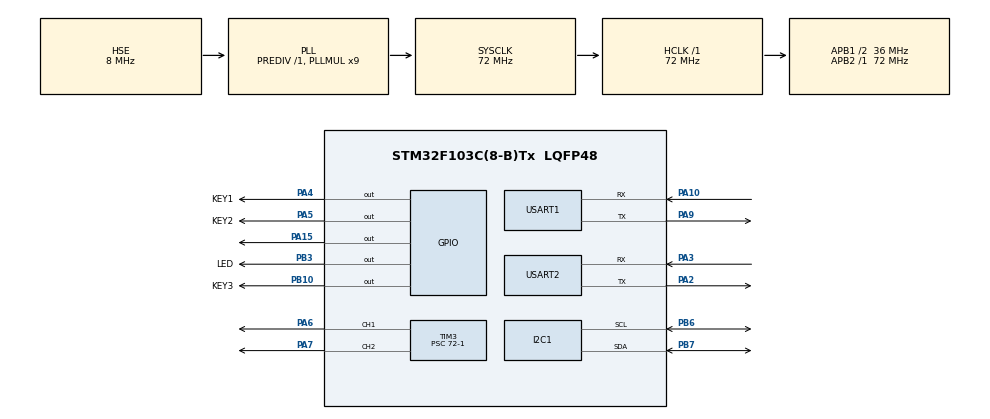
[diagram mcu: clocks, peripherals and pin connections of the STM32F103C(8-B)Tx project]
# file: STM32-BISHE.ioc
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FREERTOS.Tasks01=defaultTask,24,128,StartDefaultTask,Default,NULL,Dynamic,NULL,NULL
Mcu.Family=STM32F1
Mcu.Name=STM32F103C(8-B)Tx
Mcu.Package=LQFP48
NVIC.PriorityGroup=NVIC_PRIORITYGROUP_4
NVIC.TIM4_IRQn=true\:15\:0\:false\:false\:true\:false\:false\:true\:true
NVIC.TimeBase=TIM4_IRQn
NVIC.TimeBaseIP=TIM4
NVIC.USART1_IRQn=true\:5\:0\:false\:false\:true\:true\:true\:true\:true
NVIC.USART2_IRQn=true\:5\:0\:false\:false\:true\:true\:true\:true\:true
PA10.Mode=Asynchronous
PA10.Signal=USART1_RX
PA13.Mode=Serial_Wire
PA13.Signal=SYS_JTMS-SWDIO
PA14.Mode=Serial_Wire
PA14.Signal=SYS_JTCK-SWCLK
PA15.PinState=GPIO_PIN_RESET
PA15.Signal=GPIO_Output
PA2.Mode=Asynchronous
PA2.Signal=USART2_TX
PA3.Mode=Asynchronous
PA3.Signal=USART2_RX
PA4.GPIO_Label=KEY1
PA4.PinState=GPIO_PIN_SET
PA4.Signal=GPIO_Output
PA5.GPIO_Label=KEY2
PA5.PinState=GPIO_PIN_SET
PA5.Signal=GPIO_Output
PA6.Signal=S_TIM3_CH1
PA7.Signal=S_TIM3_CH2
PA9.Mode=Asynchronous
PA9.Signal=USART1_TX
PB10.GPIO_Label=KEY3
PB10.PinState=GPIO_PIN_SET
PB10.Signal=GPIO_Output
PB3.GPIO_Label=LED
PB3.Signal=GPIO_Output
PB6.Mode=I2C
PB6.Signal=I2C1_SCL
PB7.Mode=I2C
PB7.Signal=I2C1_SDA
PD0-OSC_IN.Mode=HSE-External-Oscillator
PD0-OSC_IN.Signal=RCC_OSC_IN
PD1-OSC_OUT.Mode=HSE-External-Oscillator
PD1-OSC_OUT.Signal=RCC_OSC_OUT
ProjectManager.HeapSize=0x400
ProjectManager.StackSize=0x800
ProjectManager.TargetToolchain=MDK-ARM V5.32
RCC.AHBFreq_Value=72000000
RCC.APB1CLKDivider=RCC_HCLK_DIV2
RCC.APB1Freq_Value=36000000
RCC.APB1TimFreq_Value=72000000
RCC.APB2Freq_Value=72000000
RCC.APB2TimFreq_Value=72000000
RCC.HCLKFreq_Value=72000000
RCC.PLLMUL=RCC_PLL_MUL9
RCC.PLLSourceVirtual=RCC_PLLSOURCE_HSE
RCC.SYSCLKFreq_VALUE=72000000
RCC.SYSCLKSource=RCC_SYSCLKSOURCE_PLLCLK
RCC.USBFreq_Value=72000000
SH.S_TIM3_CH1.0=TIM3_CH1,PWM Generation1 CH1
SH.S_TIM3_CH2.0=TIM3_CH2,PWM Generation2 CH2
TIM3.AutoReloadPreload=TIM_AUTORELOAD_PRELOAD_ENABLE
TIM3.Channel-PWM\ Generation1\ CH1=TIM_CHANNEL_1
TIM3.Channel-PWM\ Generation2\ CH2=TIM_CHANNEL_2
TIM3.Period=10000-1
TIM3.Prescaler=72-1
TIM3.Pulse-PWM\ Generation1\ CH1=5000
TIM3.Pulse-PWM\ Generation2\ CH2=5000
USART1.VirtualMode=VM_ASYNC
USART2.VirtualMode=VM_ASYNC
VP_FREERTOS_VS_CMSIS_V2.Mode=CMSIS_V2
VP_SYS_VS_tim4.Mode=TIM4
VP_TIM3_VS_ClockSourceINT.Mode=Internal
board=custom

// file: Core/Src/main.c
/* USER CODE BEGIN Header */
/**
  ******************************************************************************
  * @file           : main.c
  * @brief          : Main program body
  ******************************************************************************
  * @attention
  *
  * Copyright (c) 2026 STMicroelectronics.
  * All rights reserved.
  *
  * This software is licensed under terms that can be found in the LICENSE file
  * in the root directory of this software component.
  * If no LICENSE file comes with this software, it is provided AS-IS.
  *
  ******************************************************************************
  */
/* USER CODE END Header */
#include "main.h"
#include "cmsis_os.h"
#include "i2c.h"
#include "tim.h"
#include "usart.h"
#include "gpio.h"

void SystemClock_Config(void);
void MX_FREERTOS_Init(void);

int main(void)
{

  /* MCU Configuration--------------------------------------------------------*/

  /* Reset of all peripherals, Initializes the Flash interface and the Systick. */
  HAL_Init();

  /* Configure the system clock */
  SystemClock_Config();

  /* Initialize all configured peripherals */
  MX_GPIO_Init();
  MX_I2C1_Init();
  MX_USART1_UART_Init();
  MX_USART2_UART_Init();
  MX_TIM3_Init();
  /* USER CODE BEGIN 2 */

  {
    uint8_t uart2_direct_msg[] = "USART2 ready\r\n";
    HAL_UART_Transmit(&huart2, uart2_direct_msg, sizeof(uart2_direct_msg) - 1, HAL_MAX_DELAY);
  }

  // {
  //   uint8_t uart_direct_msg[] = "USART1 direct test\r\n";
  //   HAL_UART_Transmit(&huart1, uart_direct_msg, sizeof(uart_direct_msg) - 1, HAL_MAX_DELAY);
  // }

  /* USER CODE END 2 */

  /* Init scheduler */
  osKernelInitialize();

  /* Call init function for freertos objects (in cmsis_os2.c) */
  MX_FREERTOS_Init();

  /* Start scheduler */
  osKernelStart();

  /* We should never get here as control is now taken by the scheduler */

  /* Infinite loop */
  while (1)
  {

  }
}

void SystemClock_Config(void)
{
  RCC_OscInitTypeDef RCC_OscInitStruct = {0};
  RCC_ClkInitTypeDef RCC_ClkInitStruct = {0};

  /** Initializes the RCC Oscillators according to the specified parameters
  * in the RCC_OscInitTypeDef structure.
  */
  RCC_OscInitStruct.OscillatorType = RCC_OSCILLATORTYPE_HSE;
  RCC_OscInitStruct.HSEState = RCC_HSE_ON;
  RCC_OscInitStruct.HSEPredivValue = RCC_HSE_PREDIV_DIV1;
  RCC_OscInitStruct.HSIState = RCC_HSI_ON;
  RCC_OscInitStruct.PLL.PLLState = RCC_PLL_ON;
  RCC_OscInitStruct.PLL.PLLSource = RCC_PLLSOURCE_HSE;
  RCC_OscInitStruct.PLL.PLLMUL = RCC_PLL_MUL9;
  if (HAL_RCC_OscConfig(&RCC_OscInitStruct) != HAL_OK)
  {
    Error_Handler();
  }

  /** Initializes the CPU, AHB and APB buses clocks
  */
  RCC_ClkInitStruct.ClockType = RCC_CLOCKTYPE_HCLK|RCC_CLOCKTYPE_SYSCLK
                              |RCC_CLOCKTYPE_PCLK1|RCC_CLOCKTYPE_PCLK2;
  RCC_ClkInitStruct.SYSCLKSource = RCC_SYSCLKSOURCE_PLLCLK;
  RCC_ClkInitStruct.AHBCLKDivider = RCC_SYSCLK_DIV1;
  RCC_ClkInitStruct.APB1CLKDivider = RCC_HCLK_DIV2;
  RCC_ClkInitStruct.APB2CLKDivider = RCC_HCLK_DIV1;

  if (HAL_RCC_ClockConfig(&RCC_ClkInitStruct, FLASH_LATENCY_2) != HAL_OK)
  {
    Error_Handler();
  }
}

void HAL_TIM_PeriodElapsedCallback(TIM_HandleTypeDef *htim)
{
  if (htim->Instance == TIM4) {
    HAL_IncTick();
  }
}

void Error_Handler(void)
{
  __disable_irq();
  while (1)
  {
  }
}

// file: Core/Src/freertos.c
/* USER CODE BEGIN Header */
/**
  ******************************************************************************
  * File Name          : freertos.c
  * Description        : Code for freertos applications
  ******************************************************************************
  * @attention
  *
  * Copyright (c) 2026 STMicroelectronics.
  * All rights reserved.
  *
  * This software is licensed under terms that can be found in the LICENSE file
  * in the root directory of this software component.
  * If no LICENSE file comes with this software, it is provided AS-IS.
  *
  ******************************************************************************
  */
/* USER CODE END Header */

#include "FreeRTOS.h"
#include "task.h"
#include "main.h"
#include "cmsis_os.h"

/* USER CODE BEGIN Includes */

#include "oled.h"
#include "steering_engine.h"
#include "usart.h"
#include <stdio.h>

/* USER CODE END Includes */

/* USER CODE BEGIN PD */

#define KEY_SCAN_PERIOD_MS        10
#define KEY_TEST_FLASH_TIME_MS    120
#define SERVO_PWM_MIN             500
#define SERVO_PWM_MID             1500
#define SERVO_PWM_MAX             2500
#define SERVO_PWM_STEP            50

/* USER CODE END PD */

/* USER CODE BEGIN Variables */

osThreadId_t ledBlinkTaskHandle;
const osThreadAttr_t ledBlinkTask_attributes = {
  .name = "ledBlinkTask",
  .stack_size = 128 * 4,
  .priority = (osPriority_t) osPriorityLow,
};

osThreadId_t oledTestTaskHandle;
const osThreadAttr_t oledTestTask_attributes = {
  .name = "oledTestTask",
  .stack_size = 256 * 4,
  .priority = (osPriority_t) osPriorityLow,
};

volatile uint16_t servo_pwm[2] = {SERVO_PWM_MID, SERVO_PWM_MID};
volatile uint8_t selected_servo = 0;
volatile int8_t serial_col = 0;
volatile int8_t serial_row = 0;

/* USER CODE END Variables */
/* Definitions for defaultTask */
osThreadId_t defaultTaskHandle;
const osThreadAttr_t defaultTask_attributes = {
  .name = "defaultTask",
  .stack_size = 128 * 4,
  .priority = (osPriority_t) osPriorityNormal,
};

/* USER CODE BEGIN FunctionPrototypes */

void StartLedBlinkTask(void *argument);
void StartOledTestTask(void *argument);
/* USER CODE END FunctionPrototypes */

void StartDefaultTask(void *argument);

void MX_FREERTOS_Init(void); /* (MISRA C 2004 rule 8.1) */

void MX_FREERTOS_Init(void) {

  /* Create the thread(s) */
  /* creation of defaultTask */
  defaultTaskHandle = osThreadNew(StartDefaultTask, NULL, &defaultTask_attributes);

  /* USER CODE BEGIN RTOS_THREADS */
  ledBlinkTaskHandle = osThreadNew(StartLedBlinkTask, NULL, &ledBlinkTask_attributes);
  oledTestTaskHandle = osThreadNew(StartOledTestTask, NULL, &oledTestTask_attributes);
  /* USER CODE END RTOS_THREADS */

}

void StartDefaultTask(void *argument)
{
  /* USER CODE BEGIN StartDefaultTask */
	key_init(KEY_SCAN_PERIOD_MS);
  Buzzer_Init();
	Steering_Engine_Init();
	Set_Pwm(1, servo_pwm[0]);
	Set_Pwm(2, servo_pwm[1]);
  /* Infinite loop */
  for (;;)
  {
    key_scanner();

    if(KEY_SHORT_PRESS == key_get_state(KEY_3))
    {
      selected_servo = 1 - selected_servo;
      Buzzer_Set(GPIO_PIN_SET);
      vTaskDelay(pdMS_TO_TICKS(50));
      Buzzer_Set(GPIO_PIN_RESET);
      key_clear_state(KEY_3);
    }

    if(KEY_SHORT_PRESS == key_get_state(KEY_1))
    {
      if((servo_pwm[selected_servo] + SERVO_PWM_STEP) <= SERVO_PWM_MAX)
      {
        servo_pwm[selected_servo] += SERVO_PWM_STEP;
      }
      else
      {
        servo_pwm[selected_servo] = SERVO_PWM_MAX;
      }

      Set_Pwm(selected_servo + 1, servo_pwm[selected_servo]);
      key_clear_state(KEY_1);
    }

    if(KEY_SHORT_PRESS == key_get_state(KEY_2))
    {
      if(servo_pwm[selected_servo] >= (SERVO_PWM_MIN + SERVO_PWM_STEP))
      {
        servo_pwm[selected_servo] -= SERVO_PWM_STEP;
      }
      else
      {
        servo_pwm[selected_servo] = SERVO_PWM_MIN;
      }

      Set_Pwm(selected_servo + 1, servo_pwm[selected_servo]);
      key_clear_state(KEY_2);
    }

    vTaskDelay(pdMS_TO_TICKS(KEY_SCAN_PERIOD_MS));

  }
  /* USER CODE END StartDefaultTask */
}

/* USER CODE BEGIN Application */

void StartLedBlinkTask(void *argument)
{
  for(;;)
  {
    Led_Toggle();
    vTaskDelay(pdMS_TO_TICKS(1000));
  }
}

void StartOledTestTask(void *argument)
{
  uint8_t line_buffer[24];
  uint16_t servo1_pwm = 0;
  uint16_t servo2_pwm = 0;
  int8_t current_col = 0;
  int8_t current_row = 0;

  OLED_Init();
  OLED_SetFlip(0);

  for(;;)
  {
    servo1_pwm = servo_pwm[0];
    servo2_pwm = servo_pwm[1];
    current_col = serial_col;
    current_row = serial_row;

    OLED_FullyClear();
    OLED_ShowStr(0, 0, (uint8_t *)"SERVO STATUS", 1);

    snprintf((char *)line_buffer, sizeof(line_buffer), "S1 PWM:%u", servo1_pwm);
    OLED_ShowStr(0, 16, line_buffer, 1);

    snprintf((char *)line_buffer, sizeof(line_buffer), "S2 PWM:%u", servo2_pwm);
    OLED_ShowStr(0, 32, line_buffer, 1);

    snprintf((char *)line_buffer, sizeof(line_buffer), "C:%+d R:%+d", current_col, current_row);
    OLED_ShowStr(0, 48, line_buffer, 1);

    vTaskDelay(pdMS_TO_TICKS(1000));
  }
}

/* USER CODE END Application */
